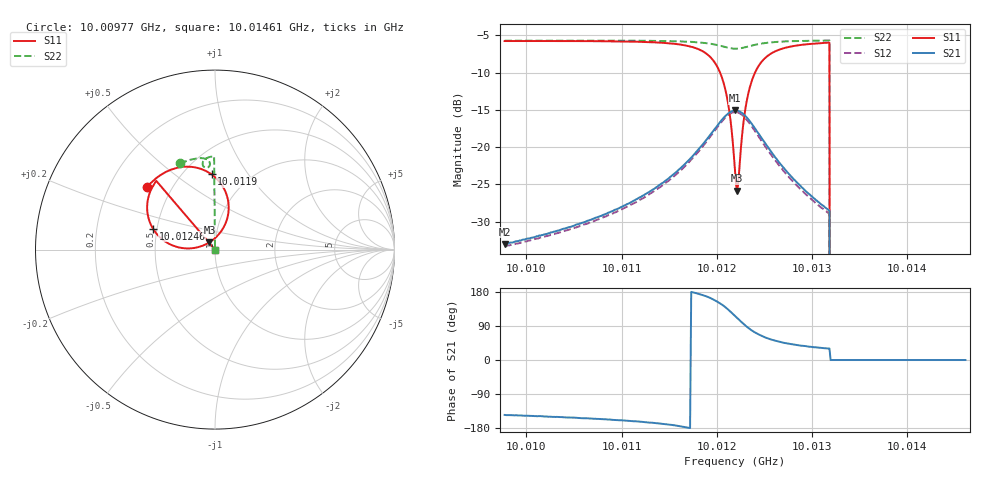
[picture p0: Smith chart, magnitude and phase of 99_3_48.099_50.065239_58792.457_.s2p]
#  HZ  S  RI  R  50.00
! Rohde & Schwarz Vector Network Analyzer
! Rohde-Schwarz,ZNB20-2Port,1311601062101988,3.16
! Created: UTC 12/23/2023, 3:44:34 AM
! freq[Hz]  re:S11  im:S11  re:S21  im:S21  re:S12  im:S12  re:S22  im:S22
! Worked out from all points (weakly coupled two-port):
!   401 points, 10.00977 GHz to 10.01461 GHz, reference 50 ohm
!   highest |S21| = -15.07 dB at 10.01219 GHz (marker M1); lowest = -33.0 dB at 10.00977 GHz (marker M2)
!   lowest |S11| = -25.8 dB at 10.01222 GHz (marker M3), VSWR 1.11, Z = 46.8 + j3.8 ohm
!   |S11| at or under -10 dB: 10.01203 GHz to 10.0124 GHz (366.3 kHz wide, 0.00366 % of centre); 10.01318 GHz to end of sweep
!   |S22| runs from - to -5.7 dB; largest |S21 - S12| = 0.0086
!   S11 on the Smith chart (normalised r, x): 10.00977 GHz: 0.36, +0.35; 10.0119 GHz: 0.68, +0.69; 10.01246 GHz: 0.48, +0.13; 10.01461 GHz: 1.00, +0.00
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1.0009771e10  -0.3774 0.3513  -0.0184 -0.0129  -0.017 -0.0134  -0.1954 0.4801
1.0010582e10  -0.3221 0.4021  -0.0278 -0.0138  -0.026 -0.0146  -0.144 0.4987
1.0010969e10  -0.2836 0.4273  -0.0362 -0.0139  -0.0343 -0.0153  -0.1174 0.5052
1.0011392e10  -0.2175 0.4542  -0.0542 -0.0121  -0.0514 -0.0143  -0.0853 0.5095
1.0011671e10  -0.138 0.4617  -0.0776 -0.00362  -0.0746 -0.00765  -0.0604 0.508
1.0011901e10  -0.0194 0.4192  -0.1113 0.0258  -0.1092 0.0193  -0.0372 0.4967
1.001201e10  0.0505 0.3389  -0.1259 0.0635  -0.1259 0.0552  -0.0288 0.4831
1.0012082e10  0.0761 0.2429  -0.1242 0.1011  -0.1253 0.0936  -0.0291 0.4704
1.0012143e10  0.0574 0.1428  -0.1054 0.1361  -0.1091 0.1283  -0.0355 0.4606
1.0012191e10  0.00564 0.0689  -0.0781 0.1581  -0.0815 0.1516  -0.0448 0.4561
1.0012215e10  -0.0313 0.0404  -0.0615 0.1647  -0.065 0.1585  -0.05 0.456
1.0012239e10  -0.073 0.0202  -0.0445 0.168  -0.0482 0.1619  -0.0548 0.457
1.0012288e10  -0.16 0.00655  -0.0106 0.1646  -0.0152 0.1591  -0.063 0.4623
1.0012324e10  -0.2186 0.017  0.0108 0.1554  0.00579 0.1501  -0.067 0.4683
1.0012385e10  -0.2934 0.0569  0.0354 0.1339  0.0297 0.1294  -0.0691 0.4789
1.0012457e10  -0.3457 0.117  0.0493 0.1076  0.0438 0.1044  -0.0666 0.49
1.0012651e10  -0.378 0.2444  0.0525 0.0597  0.048 0.0589  -0.05 0.5074
1.0013002e10  -0.3463 0.3529  0.0385 0.0262  0.0353 0.0266  -0.0193 0.5184
1.0013159e10  -0.3293 0.3792  0.0331 0.0197  0.0306 0.0202  -0.00692 0.5202
1.001322e10  0 0  0 0  0 0  0 0
1.0013812e10  0 0  0 0  0 0  0 0
1.0014611e10  0 0  0 0  0 0  0 0
